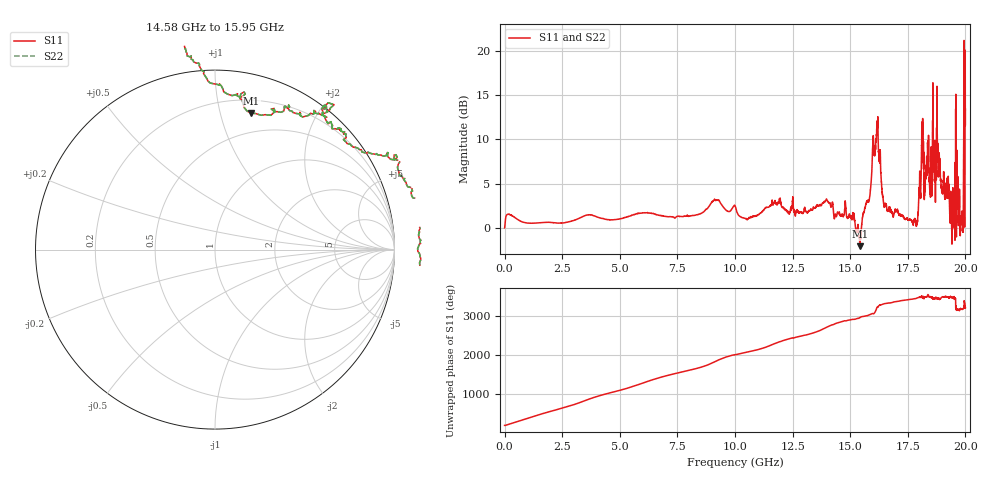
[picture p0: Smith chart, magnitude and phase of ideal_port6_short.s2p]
! Created with skrf (http://scikit-rf.org).
# GHz S RI R 50.0
!freq ReS11 ImS11 ReS21 ImS21 ReS12 ImS12 ReS22 ImS22
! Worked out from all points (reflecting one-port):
!   10001 points, 1 MHz to 20 GHz, reference 50 ohm
!   lowest |S11| = -2.1 dB at 15.43 GHz (marker M1), VSWR 8.41, Z = 15.6 + j62.6 ohm
!   phase of S11 starts at 180 deg and turns +3018 deg over the sweep
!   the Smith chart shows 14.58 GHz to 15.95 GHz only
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0.001  -1 0.00293  0 0  0 0  -1 0.00293
1.510925  -0.1355 1.059  0 0  0 0  -0.1355 1.059
2.582871  0.1154 -1.061  0 0  0 0  0.1154 -1.061
3.334833  0.531 1.018  0 0  0 0  0.531 1.018
4.348783  -0.168 -1.108  0 0  0 0  -0.168 -1.108
5.066747  1.1 0.2455  0 0  0 0  1.1 0.2455
5.968702  -1.212 -0.0402  0 0  0 0  -1.212 -0.0402
6.668667  0.8933 -0.7724  0 0  0 0  0.8933 -0.7724
8.20659  -1.171 -0.0863  0 0  0 0  -1.171 -0.0863
9.088546  1.426 0.1554  0 0  0 0  1.426 0.1554
10.0005  -1.282 -0.3802  0 0  0 0  -1.282 -0.3802
11.14444  1.213 -0.1259  0 0  0 0  1.213 -0.1259
13.33433  1.123 0.5622  0 0  0 0  1.123 0.5622
13.9543  -1.438 0.0505  0 0  0 0  -1.438 0.0505
14.72426  1.133 -0.3272  0 0  0 0  1.133 -0.3272
15.42623  0.2021 0.7611  0 0  0 0  0.2021 0.7611
15.9962  -3.204 0.3633  0 0  0 0  -3.204 0.3633
16.23419  2.623 0.5239  0 0  0 0  2.623 0.5239
16.66817  0.0632 1.265  0 0  0 0  0.0632 1.265
18.0941  -0.6571 -2.498  0 0  0 0  -0.6571 -2.498
18.82206  -1.88 -0.755  0 0  0 0  -1.88 -0.755
20  3.46 -3.167  0 0  0 0  3.46 -3.167
